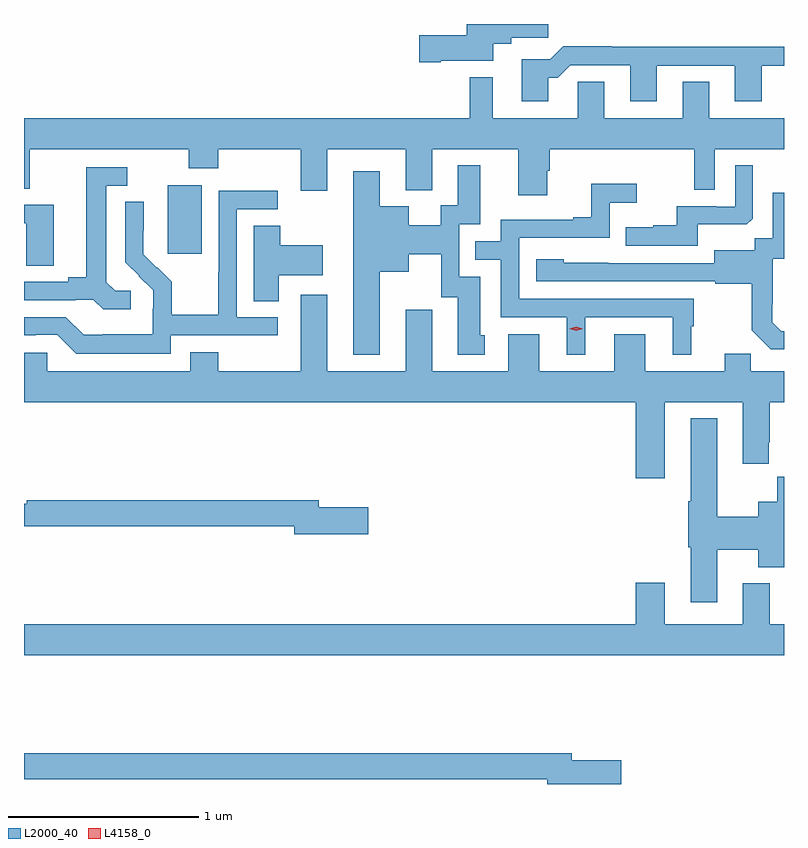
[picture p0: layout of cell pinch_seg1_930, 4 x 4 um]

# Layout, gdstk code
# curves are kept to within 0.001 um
import gdstk
lib = gdstk.Library(unit=1e-6, precision=1e-09)
def R(c, l, rs):  # rectangles x0, y0, x1, y1
    for r in rs: c.add(gdstk.rectangle(r[:2], r[2:], *l))
def P(c, l, *ps):  # polygons
    for p in ps: c.add(gdstk.Polygon(p, *l))
L2000_40 = (2000, 40)
L4158_0 = (4158, 0)

pinch_seg1_930 = lib.new_cell('pinch_seg1_930')
R(pinch_seg1_930, L2000_40, [(177.998,536.529,178.177,536.89)])
P(pinch_seg1_930, L2000_40, [(179.434,537.545),(179.71,537.545),(179.71,537.635),(179.806,537.635),(179.806,537.667),(180.001,537.667),(180.001,537.739),(179.57,537.739),(179.57,537.68),(179.322,537.68),(179.322,537.538),(179.434,537.538)],
  [(180.001,537.455),(180.05,537.455),(180.117,537.522),(180.431,537.522),(180.431,537.333),(180.571,537.333),(180.571,537.519),(180.983,537.519),(180.983,537.333),(181.123,537.333),(181.123,537.519),(181.241,537.519),(181.241,537.62),(180.335,537.62),(180.335,537.623),(180.08,537.623),(180.01,537.553),(179.861,537.553),(179.861,537.333),(180.001,537.333)],
  [(179.995,536.967),(180.008,536.967),(180.008,537.08),(180.768,537.08),(180.768,536.866),(180.876,536.866),(180.876,537.08),(181.241,537.08),(181.241,537.244),(180.847,537.244),(180.847,537.434),(180.707,537.434),(180.707,537.244),(180.295,537.244),(180.295,537.434),(180.156,537.434),(180.156,537.244),(179.707,537.244),(179.707,537.46),(179.586,537.46),(179.586,537.244),(177.241,537.244),(177.241,536.872),(177.271,536.872),(177.271,537.08),(178.108,537.08),(178.108,536.981),(178.263,536.981),(178.263,537.08),(178.697,537.08),(178.697,536.862),(178.837,536.862),(178.837,537.08),(179.249,537.08),(179.249,536.864),(179.389,536.864),(179.389,537.08),(179.843,537.08),(179.843,536.838),(179.995,536.838)],
  [(179.113,536.435),(179.266,536.435),(179.266,536.528),(179.436,536.528),(179.436,536.301),(179.525,536.301),(179.525,535.998),(179.665,535.998),(179.665,536.1),(179.641,536.1),(179.641,536.409),(179.532,536.409),(179.532,536.685),(179.641,536.685),(179.641,536.995),(179.525,536.995),(179.525,536.786),(179.435,536.786),(179.435,536.68),(179.266,536.68),(179.266,536.779),(179.113,536.779),(179.113,536.965),(178.973,536.965),(178.973,535.997),(179.113,535.997)],
  [(180.787,536.684),(181.045,536.684),(181.077,536.715),(181.077,536.995),(180.984,536.995),(180.984,536.778),(180.884,536.778),(180.884,536.781),(180.677,536.781),(180.677,536.68),(180.553,536.68),(180.553,536.668),(180.409,536.668),(180.409,536.571),(180.787,536.571)],
  [(177.802,536.334),(177.72,536.334),(177.673,536.381),(177.673,536.889),(177.784,536.889),(177.784,536.985),(177.569,536.985),(177.569,536.405),(177.473,536.405),(177.473,536.382),(177.241,536.382),(177.241,536.286),(177.512,536.286),(177.512,536.289),(177.606,536.289),(177.658,536.237),(177.802,536.237)],
  [(180.196,536.196),(180.656,536.196),(180.656,535.997),(180.754,535.997),(180.754,536.148),(180.766,536.148),(180.766,536.292),(179.847,536.292),(179.847,536.613),(180.324,536.613),(180.324,536.798),(180.466,536.798),(180.466,536.897),(180.226,536.897),(180.226,536.722),(180.131,536.722),(180.131,536.709),(179.751,536.709),(179.751,536.595),(179.617,536.595),(179.617,536.499),(179.751,536.499),(179.751,536.196),(180.098,536.196),(180.098,535.997),(180.196,535.997)],
  [(178.014,536.1),(178.576,536.1),(178.576,536.196),(178.362,536.196),(178.362,536.763),(178.576,536.763),(178.576,536.862),(178.266,536.862),(178.266,536.432),(178.264,536.432),(178.264,536.209),(178.019,536.209),(178.019,536.383),(177.942,536.46),(177.939,536.457),(177.869,536.528),(177.87,536.804),(177.774,536.804),(177.774,536.486),(177.92,536.338),(177.92,536.241),(177.918,536.241),(177.918,536.107),(177.655,536.107),(177.655,536.103),(177.555,536.103),(177.462,536.196),(177.241,536.196),(177.241,536.1),(177.302,536.1),(177.302,536.103),(177.417,536.103),(177.517,536.003),(178.014,536.003)],
  [(181.241,536.121),(181.227,536.121),(181.18,536.168),(181.18,536.263),(181.182,536.263),(181.182,536.504),(181.241,536.504),(181.241,536.851),(181.181,536.851),(181.181,536.612),(181.086,536.612),(181.086,536.548),(180.875,536.548),(180.875,536.481),(180.081,536.482),(180.081,536.5),(179.937,536.5),(179.937,536.385),(180.879,536.385),(180.879,536.373),(181.071,536.373),(181.071,536.127),(181.171,536.027),(181.241,536.027)],
  [(177.397,536.787),(177.241,536.787),(177.241,536.691),(177.252,536.691),(177.252,536.467),(177.397,536.467)],
  [(178.582,536.417),(178.813,536.417),(178.813,536.575),(178.59,536.575),(178.59,536.678),(178.451,536.678),(178.451,536.281),(178.582,536.281)],
  [(180.613,535.748),(181.025,535.748),(181.025,535.425),(181.162,535.425),(181.162,535.537),(181.165,535.537),(181.165,535.748),(181.241,535.748),(181.241,535.912),(181.067,535.912),(181.067,536.003),(180.929,536.003),(180.929,535.912),(180.511,535.912),(180.511,536.107),(180.347,536.107),(180.347,535.912),(179.953,535.912),(179.953,536.107),(179.789,536.107),(179.789,535.912),(179.389,535.912),(179.389,536.236),(179.249,536.236),(179.249,535.912),(178.837,535.912),(178.837,536.314),(178.697,536.314),(178.697,535.912),(178.263,535.912),(178.263,536.011),(178.115,536.011),(178.115,535.912),(177.363,535.912),(177.363,536.01),(177.241,536.01),(177.241,535.748),(180.461,535.748),(180.461,535.347),(180.613,535.347)],
  [(180.889,534.973),(181.106,534.973),(181.106,534.881),(181.241,534.881),(181.241,535.356),(181.205,535.356),(181.205,535.225),(181.106,535.225),(181.106,535.145),(180.889,535.145),(180.889,535.663),(180.749,535.663),(180.749,535.228),(180.737,535.228),(180.737,534.984),(180.749,534.984),(180.749,534.696),(180.889,534.696)],
  [(179.053,535.196),(178.792,535.196),(178.792,535.232),(177.256,535.232),(177.256,535.213),(177.241,535.213),(177.241,535.104),(177.242,535.104),(177.242,535.096),(178.664,535.096),(178.664,535.054),(179.053,535.054)],
  [(181.241,534.58),(181.165,534.58),(181.165,534.796),(181.025,534.796),(181.025,534.58),(180.613,534.58),(180.613,534.799),(180.461,534.799),(180.461,534.58),(177.241,534.58),(177.241,534.416),(181.241,534.416)],
  [(180.385,533.864),(180.124,533.864),(180.124,533.9),(177.241,533.9),(177.241,533.764),(179.996,533.764),(179.996,533.739),(180.385,533.739)])
P(pinch_seg1_930, L4158_0, [(180.147,536.125),(180.111,536.135),(180.111,536.135),(180.111,536.135),(180.147,536.145),(180.183,536.135),(180.183,536.135),(180.183,536.135)])

lib.write_gds('pinch_seg1_930.gds')
